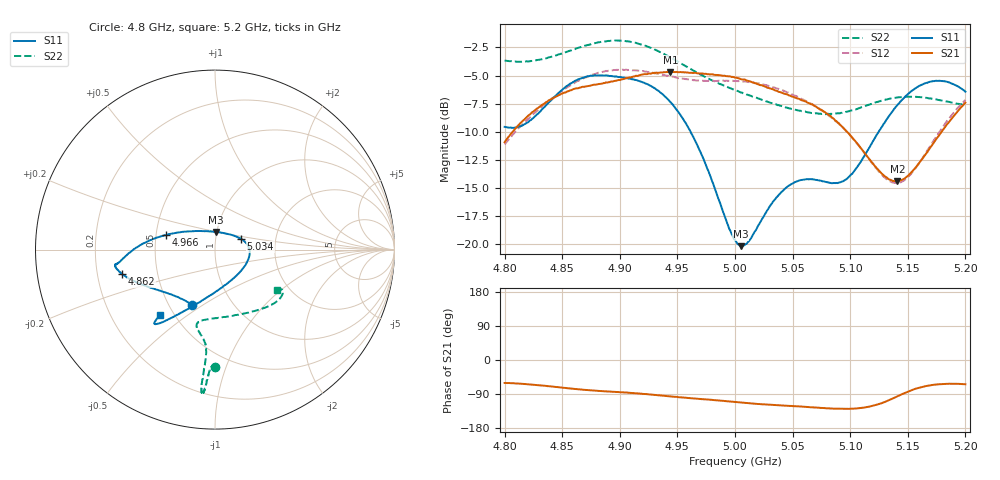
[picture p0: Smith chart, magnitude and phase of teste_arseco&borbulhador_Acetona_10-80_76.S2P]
! Network Analyzer HP8722D
! Hewlett-Packard
! Data name: Linha & Wilkinson
! Saver's name: Rodrigo Anjos
! Comments: Teste da utilização de aquisição
! continua pelo VNA HP8722D
! Time and date: 17/4/2025 14:59
!  Frequency  S11  S21  S12  S22
# HZ  S  MA R 50
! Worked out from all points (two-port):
!   401 points, 4.8 GHz to 5.2 GHz, reference 50 ohm
!   highest |S21| = -4.67 dB at 4.944 GHz (marker M1); lowest = -14.4 dB at 5.141 GHz (marker M2)
!   |S21| within 3 dB of the highest: 4.832 GHz to 5.069 GHz (236.9 MHz wide, 4.79 % of centre); 5.197753 GHz to end of sweep
!   lowest |S11| = -20.2 dB at 5.005 GHz (marker M3), VSWR 1.22, Z = 49.6 + j9.81 ohm
!   |S11| at or under -10 dB: 4.961 GHz to 5.125 GHz (163.3 MHz wide, 3.24 % of centre)
!   |S22| runs from -8.4 to -1.9 dB; largest |S21 - S12| = 0.88
!   S11 on the Smith chart (normalised r, x): 4.8 GHz: 0.65, -0.45; 4.862 GHz: 0.31, -0.12; 4.966 GHz: 0.57, +0.10; 5.034 GHz: 1.33, +0.16; 5.2 GHz: 0.42, -0.40
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4.8e9  0.3324 -112.9  0.2842 -60.6  0.2781 -174.8  0.656 -89.9
4.819e9  0.346 -132.8  0.3665 -63.8  0.3548 -173.2  0.6508 -91.4
4.862e9  0.5352 -165.2  0.4931 -76.7  0.5269 -176.4  0.7421 -93.6
4.867e9  0.5485 -167.2  0.5001 -78.2  0.5422 -177.3  0.756 -93.8
4.899e9  0.5537 -171.8  0.5374 -84.8  0.5965 176.0  0.8042 -95.1
4.934e9  0.4794 -177.8  0.579 -93.2  0.5717 172.1  0.7183 -95.6
4.944e9  0.4287 177.7  0.5841 -96.1  0.5575 172.1  0.6779 -95.3
4.966e9  0.2842 163.3  0.5786 -101.7  0.5349 174.0  0.5837 -94.9
5e9  0.1045 103.8  0.5507 -110.9  0.5327 176.4  0.4841 -99.0
5.005e9  0.09805 86.6  0.5421 -112.3  0.5304 176.2  0.4727 -100.3
5.012e9  0.1031 64.0  0.5314 -114.0  0.5262 176.2  0.46 -101.7
5.034e9  0.1566 22.5  0.4856 -118.8  0.4978 175.2  0.4208 -103.5
5.05e9  0.1863 6.1  0.4532 -121.7  0.4623 174.4  0.3989 -99.8
5.067e9  0.1946 -12.2  0.4189 -124.7  0.42 173.8  0.3836 -91.0
5.085e9  0.1871 -40.1  0.3632 -128.3  0.3625 173.8  0.3797 -77.6
5.097e9  0.1949 -64.8  0.3169 -128.9  0.3169 174.6  0.3885 -67.6
5.134e9  0.3734 -115.7  0.194 -105.7  0.1909 -158.5  0.4435 -42.9
5.141e9  0.4159 -119.6  0.1906 -95.6  0.1874 -147.5  0.4497 -39.8
5.153e9  0.479 -124.6  0.2086 -79.9  0.206 -129.2  0.453 -35.6
5.17e9  0.529 -128.3  0.2708 -66.6  0.2765 -112.6  0.445 -31.7
5.184e9  0.5275 -129.7  0.3416 -62.9  0.3532 -107.1  0.4316 -30.8
5.2e9  0.4767 -130.1  0.4259 -64.1  0.4381 -106.1  0.4148 -33.1
